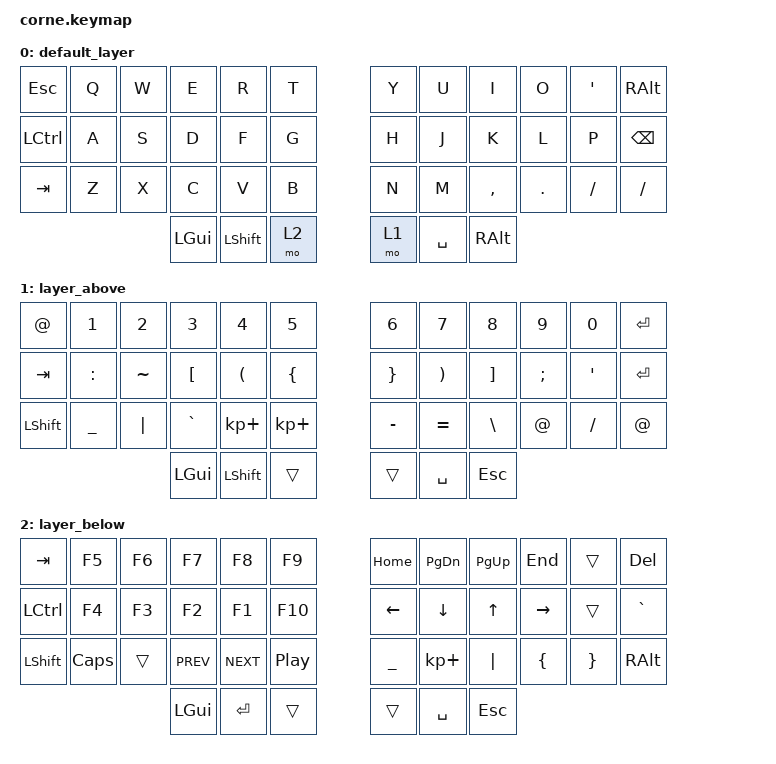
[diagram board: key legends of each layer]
/*
 * Copyright (c) 2020 The ZMK Contributors
 *
 * SPDX-License-Identifier: MIT
 */

#include <behaviors.dtsi>
#include <dt-bindings/zmk/keys.h>
#include <dt-bindings/zmk/bt.h>

/ {
    keymap {
                compatible = "zmk,keymap";

//--------------------------------------------------------------------------------------------------
//|  TAB   |  Q  |  W     |  E    |  R  |  T  |         |  Y  |  U   |  I  |  O  |     |     |
//| CTRL   |  A  |  S     |  D    |  F  |  G  |         |  H  |  J   |  K  |  L  |  P  | <-- |
//|  TAB   |  Z  |  X     |  C    |  V  |  B  |         |  N  |  M   |  ,  |  .  |  ;  |  /  |
//
//                        |  GUI  | SFT | LWR |         | RSE | SPC  | ESC |
                default_layer {
                        bindings = <
   &kp ESC      &kp Q   &kp W   &kp E    &kp R      &kp T       &kp Y   &kp U     &kp I     &kp O   &kp SQT &kp RALT
   &kp LCTRL    &kp A   &kp S   &kp D    &kp F      &kp G       &kp H   &kp J     &kp K     &kp L   &kp P    &kp BSPC
   &kp TAB      &kp Z   &kp X   &kp C    &kp V      &kp B       &kp N   &kp M     &kp COMMA &kp DOT &kp FSLH &kp FSLH
                                &kp LGUI &kp LSHIFT &mo 2       &mo 1   &kp SPACE &kp RALT
                        >;
                };
//----------------------------------------------------------------------------------------
//|      |  1  |  2  |  3  |  4  |  5  |   |  6  |  7  |  8  |  9  |  0  |     |
//|      |     |     |  {  |  (  |     |   |     |  )  |  }  |     |     | RET |
//|      |     |     |     |     |     |   |     |     |     |     |     | ALT |
//                   | GUI | ENT |     |   |     | SPC | ESC |
                layer_above {
                        bindings = <
   &kp AT     &kp N1       &kp N2       &kp N3       &kp N4       &kp N5       &kp N6    &kp N7     &kp N8    &kp  N9    &kp N0    &kp RET 
   &kp TAB    &kp COLON    &kp TILDE    &kp LBKT     &kp LPAR     &kp LBRC     &kp RBRC  &kp RPAR   &kp RBKT  &kp  SEMI  &kp SQT   &kp RET
   &kp LSHFT  &kp UNDER    &kp PIPE     &kp GRAVE    &kp KP_PLUS  &kp KP_PLUS  &kp MINUS &kp EQUAL  &kp BSLH  &kp  AT    &kp FSLH  &kp AT
                                        &kp LGUI     &kp LSHIFT   &trans       &trans    &kp SPACE  &kp ESC
                        >;
                };
//-----------------------------------------------------------------------------------------
//|  TAB   | F1  | F2  | F3  | F4  | F5  |   | HOM | PGD | PGU | END |     | DEL  |
//| CTRL   | F6  | F7  | F8  | F9  | F10 |   | LFT | DWN | UP  | RGT |     |  `   |
//| LSHFT  | CAPS|     | PRV | NXT | PP  |   |  _  |  +  |  |  |  {  |  }  | ALT  |
//                     | GUI | ENT |     |   |     | SPC | ESC |
                layer_below {
                       bindings = <
   &kp  TAB  &kp F5   &kp F6   &kp F7     &kp F8     &kp F9     &kp HOME  &kp PG_DN   &kp PG_UP &kp END   &trans   &kp DEL
   &kp LCTRL &kp F4   &kp F3   &kp F2     &kp F1     &kp F10    &kp LEFT  &kp DOWN    &kp UP    &kp RIGHT &trans   &kp GRAVE
   &kp LSHFT &kp CAPS &trans   &kp C_PREV &kp C_NEXT &kp C_PP   &kp UNDER &kp KP_PLUS &kp PIPE  &kp LBRC  &kp RBRC &kp RALT
                                      &kp LGUI &kp RET &trans   &trans &kp SPACE &kp ESC
                        >;
                };
        };
};
